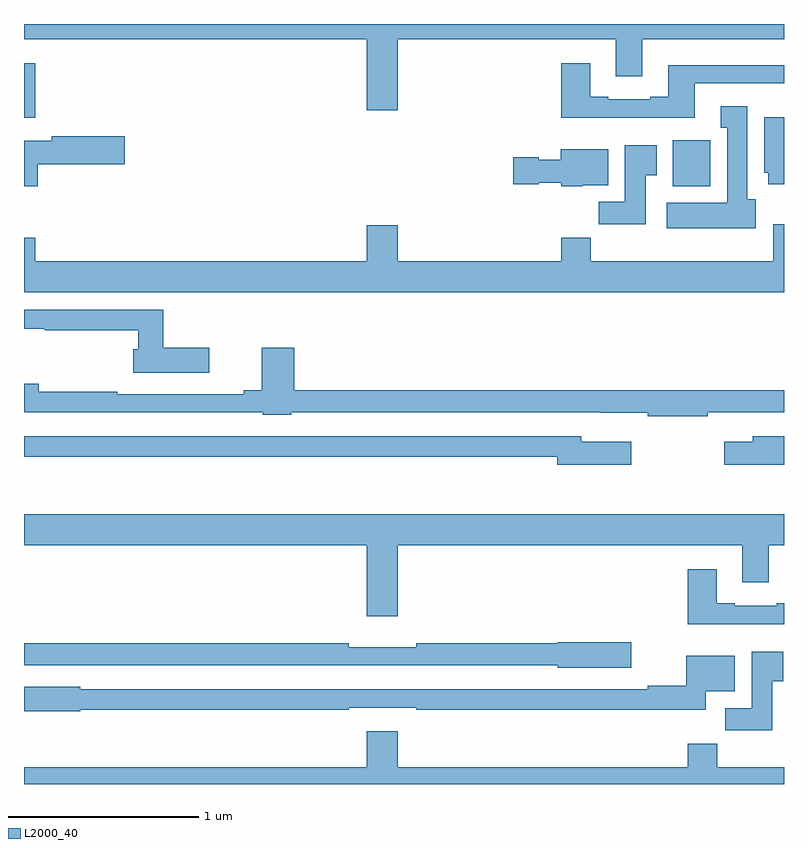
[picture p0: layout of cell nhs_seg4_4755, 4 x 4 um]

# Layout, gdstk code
import gdstk
lib = gdstk.Library(unit=1e-6, precision=1e-09)
def R(c, l, rs):  # rectangles x0, y0, x1, y1
    for r in rs: c.add(gdstk.rectangle(r[:2], r[2:], *l))
def P(c, l, *ps):  # polygons
    for p in ps: c.add(gdstk.Polygon(p, *l))
L2000_40 = (2000, 40)

nhs_seg4_4755 = lib.new_cell('nhs_seg4_4755')
R(nhs_seg4_4755, L2000_40, [(370.415,796.046,370.612,796.288), (367,796.406,367.058,796.693)])
P(nhs_seg4_4755, L2000_40, [(368.968,796.82),(370.115,796.82),(370.115,796.626),(370.255,796.626),(370.255,796.82),(371,796.82),(371,796.9),(367,796.9),(367,796.82),(368.804,796.82),(368.804,796.446),(368.968,796.446)],
  [(370.531,796.587),(371,796.587),(371,796.684),(370.391,796.684),(370.391,796.516),(370.295,796.516),(370.295,796.503),(370.075,796.503),(370.075,796.516),(369.979,796.516),(369.979,796.693),(369.827,796.693),(369.827,796.406),(370.531,796.406)],
  [(370.852,795.978),(370.807,795.978),(370.807,796.468),(370.667,796.468),(370.667,796.355),(370.7,796.355),(370.7,795.958),(370.383,795.958),(370.383,795.824),(370.852,795.824)],
  [(371,796.408),(370.895,796.408),(370.895,796.116),(370.916,796.116),(370.916,796.056),(371,796.056)],
  [(367.073,796.163),(367.531,796.163),(367.531,796.31),(367.146,796.31),(367.146,796.285),(367,796.285),(367,796.046),(367.073,796.046)],
  [(370.273,796.105),(370.33,796.105),(370.33,796.261),(370.163,796.261),(370.163,795.964),(370.024,795.964),(370.024,795.846),(370.273,795.846)],
  [(369.942,796.052),(370.075,796.052),(370.075,796.24),(369.824,796.24),(369.824,796.186),(369.708,796.186),(369.708,796.199),(369.576,796.199),(369.576,796.057),(369.708,796.057),(369.708,796.064),(369.828,796.064),(369.828,796.046),(369.942,796.046)],
  [(371,795.847),(370.943,795.847),(370.943,795.652),(369.983,795.652),(369.983,795.776),(369.827,795.776),(369.827,795.652),(368.968,795.652),(368.968,795.841),(368.804,795.841),(368.804,795.652),(367.058,795.652),(367.058,795.776),(367,795.776),(367,795.488),(371,795.488)],
  [(367.975,795.195),(367.733,795.195),(367.733,795.396),(367,795.396),(367,795.295),(367.11,795.295),(367.11,795.288),(367.601,795.288),(367.601,795.187),(367.574,795.187),(367.574,795.065),(367.975,795.065)],
  [(370.598,794.856),(371,794.856),(371,794.972),(368.423,794.972),(368.423,795.196),(368.252,795.196),(368.252,794.972),(368.156,794.972),(368.156,794.952),(367.49,794.952),(367.49,794.965),(367.078,794.965),(367.078,795.007),(367,795.007),(367,794.856),(368.256,794.856),(368.256,794.843),(368.406,794.843),(368.406,794.856),(370.03,794.856),(370.03,794.855),(370.282,794.855),(370.282,794.836),(370.598,794.836)],
  [(371,794.73),(370.835,794.73),(370.835,794.701),(370.686,794.701),(370.686,794.579),(371,794.579)],
  [(370.195,794.701),(369.934,794.701),(369.934,794.73),(367,794.73),(367,794.622),(369.806,794.622),(369.806,794.579),(370.195,794.579)],
  [(368.968,794.156),(370.781,794.156),(370.781,793.962),(370.921,793.962),(370.921,794.156),(371,794.156),(371,794.32),(367,794.32),(367,794.156),(368.804,794.156),(368.804,793.782),(368.968,793.782)],
  [(371,793.852),(370.961,793.852),(370.961,793.839),(370.741,793.839),(370.741,793.852),(370.645,793.852),(370.645,794.029),(370.493,794.029),(370.493,793.742),(371,793.742)],
  [(370.195,793.646),(369.81,793.646),(369.81,793.64),(369.064,793.64),(369.064,793.621),(368.708,793.621),(368.708,793.64),(367,793.64),(367,793.524),(369.81,793.524),(369.81,793.511),(370.195,793.511)],
  [(370.939,793.441),(370.996,793.441),(370.996,793.597),(370.829,793.597),(370.829,793.3),(370.69,793.3),(370.69,793.182),(370.939,793.182)],
  [(367.296,793.29),(368.708,793.29),(368.708,793.302),(369.064,793.302),(369.064,793.29),(370.587,793.29),(370.587,793.388),(370.741,793.388),(370.741,793.576),(370.486,793.576),(370.486,793.418),(370.282,793.418),(370.282,793.398),(367.296,793.398),(367.296,793.411),(367,793.411),(367,793.282),(367.296,793.282)],
  [(371,792.988),(370.649,792.988),(370.649,793.112),(370.493,793.112),(370.493,792.988),(368.968,792.988),(368.968,793.177),(368.804,793.177),(368.804,792.988),(367,792.988),(367,792.9),(371,792.9)])

lib.write_gds('nhs_seg4_4755.gds')
